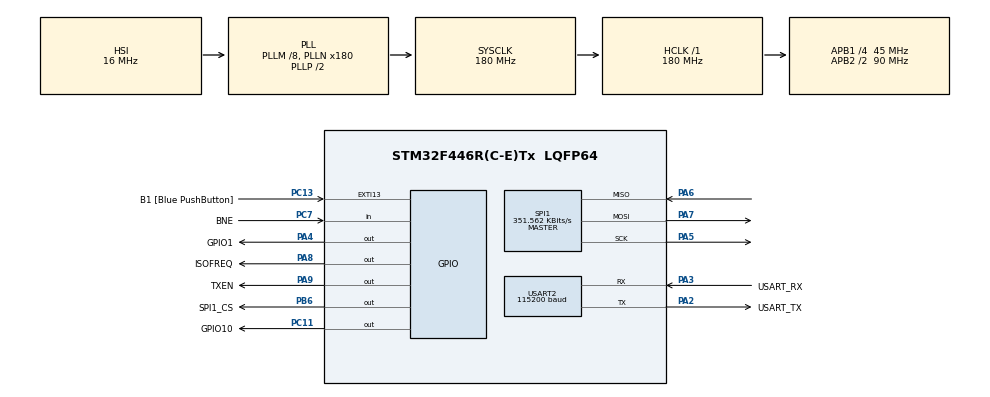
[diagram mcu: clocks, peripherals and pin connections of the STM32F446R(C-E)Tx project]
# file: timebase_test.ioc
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Mcu.Family=STM32F4
Mcu.Name=STM32F446R(C-E)Tx
Mcu.Package=LQFP64
NVIC.PriorityGroup=NVIC_PRIORITYGROUP_0
NVIC.TIM1_TRG_COM_TIM11_IRQn=true\:0\:0\:false\:false\:true\:true\:true\:true
NVIC.USART2_IRQn=true\:0\:0\:false\:false\:true\:true\:true\:true
PA13.Mode=Serial_Wire
PA13.Signal=SYS_JTMS-SWDIO
PA14.Mode=Serial_Wire
PA14.Signal=SYS_JTCK-SWCLK
PA2.GPIO_Label=USART_TX
PA2.Mode=Asynchronous
PA2.Signal=USART2_TX
PA3.GPIO_Label=USART_RX
PA3.Mode=Asynchronous
PA3.Signal=USART2_RX
PA4.GPIO_Label=GPIO1
PA4.Signal=GPIO_Output
PA5.Mode=Full_Duplex_Master
PA5.Signal=SPI1_SCK
PA6.Mode=Full_Duplex_Master
PA6.Signal=SPI1_MISO
PA7.Mode=Full_Duplex_Master
PA7.Signal=SPI1_MOSI
PA8.GPIO_Label=ISOFREQ
PA8.Signal=GPIO_Output
PA9.GPIO_Label=TXEN
PA9.Signal=GPIO_Output
PB6.GPIO_Label=SPI1_CS
PB6.PinState=GPIO_PIN_SET
PB6.Signal=GPIO_Output
PC11.GPIO_Label=GPIO10
PC11.GPIO_Speed=GPIO_SPEED_FREQ_VERY_HIGH
PC11.Signal=GPIO_Output
PC13.GPIO_Label=B1 [Blue PushButton]
PC13.GPIO_ModeDefaultEXTI=GPIO_MODE_IT_FALLING
PC13.Signal=GPXTI13
PC7.GPIO_Label=BNE
PC7.Signal=GPIO_Input
ProjectManager.HeapSize=0x200
ProjectManager.StackSize=0x400
ProjectManager.TargetToolchain=Makefile
RCC.AHBFreq_Value=180000000
RCC.APB1CLKDivider=RCC_HCLK_DIV4
RCC.APB1Freq_Value=45000000
RCC.APB1TimFreq_Value=90000000
RCC.APB2CLKDivider=RCC_HCLK_DIV2
RCC.APB2Freq_Value=90000000
RCC.APB2TimFreq_Value=180000000
RCC.CortexFreq_Value=180000000
RCC.FLatency-AdvancedSettings=FLASH_LATENCY_5
RCC.HCLKFreq_Value=180000000
RCC.HSE_VALUE=25000000
RCC.HSI_VALUE=16000000
RCC.LSE_VALUE=32768
RCC.PLLM=8
RCC.PLLN=180
RCC.SYSCLKFreq_VALUE=180000000
RCC.SYSCLKSource=RCC_SYSCLKSOURCE_PLLCLK
RCC.USBFreq_Value=180000000
RCC.VCOOutputFreq_Value=360000000
SPI1.BaudRatePrescaler=SPI_BAUDRATEPRESCALER_256
SPI1.CLKPhase=SPI_PHASE_2EDGE
SPI1.CRCCalculation=SPI_CRCCALCULATION_DISABLE
SPI1.CalculateBaudRate=351.562 KBits/s
SPI1.Direction=SPI_DIRECTION_2LINES
SPI1.FirstBit=SPI_FIRSTBIT_MSB
SPI1.Mode=SPI_MODE_MASTER
SPI1.VirtualType=VM_MASTER
TIM11.Period=7200
TIM11.Prescaler=0
USART2.BaudRate=115200
USART2.VirtualMode=VM_ASYNC
VP_CRC_VS_CRC.Mode=CRC_Activate
VP_TIM11_VS_ClockSourceINT.Mode=Enable_Timer
board=NUCLEO-F446RE

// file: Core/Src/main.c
/* USER CODE BEGIN Header */
/**
  ******************************************************************************
  * @file           : main.c
  * @brief          : Main program body
  ******************************************************************************
  * @attention
  *
  * Copyright (c) 2022 STMicroelectronics.
  * All rights reserved.
  *
  * This software is licensed under terms that can be found in the LICENSE file
  * in the root directory of this software component.
  * If no LICENSE file comes with this software, it is provided AS-IS.
  *
  ******************************************************************************
  */
/* USER CODE END Header */
#include "main.h"

#include "crc.h"
#include "gpio.h"
#include "spi.h"
#include "tim.h"
#include "usart.h"

/* USER CODE BEGIN Includes */
#include "L9963E.h"
#include "string.h"

#include <stdio.h>
/* USER CODE END Includes */

void SystemClock_Config(void);

/* USER CODE BEGIN 0 */

HAL_StatusTypeDef sample_callback(void) {
    HAL_GPIO_TogglePin(GPIO1_GPIO_Port, GPIO1_Pin);
    return HAL_OK;
}

HAL_StatusTypeDef dioca(char *buffer, uint32_t size) {
    static char buf[256];
    while (huart2.gState == HAL_UART_STATE_BUSY_TX)
        ;
    strncpy(buf, buffer, 256);
    return HAL_UART_Transmit_IT(&huart2, (uint8_t *)buf, size);
}

/* USER CODE END 0 */

int main(void) {

    /* MCU Configuration--------------------------------------------------------*/

    /* Reset of all peripherals, Initializes the Flash interface and the Systick. */
    HAL_Init();

    /* Configure the system clock */
    SystemClock_Config();

    /* Initialize all configured peripherals */
    MX_GPIO_Init();
    MX_USART2_UART_Init();
    MX_TIM11_Init();
    MX_SPI1_Init();
    MX_CRC_Init();
    /* USER CODE BEGIN 2 */

    L9963E_HandleTypeDef h9l;
    L9963E_init(&h9l,
                &hspi1,
                SPI1_CS_GPIO_Port,
                SPI1_CS_Pin,
                TXEN_GPIO_Port,
                TXEN_Pin,
                BNE_GPIO_Port,
                BNE_Pin,
                ISOFREQ_GPIO_Port,
                ISOFREQ_Pin,
                1);
    L9963E_addressing_procedure(&h9l, 0b11, 0, 0, 1);

    L9963E_RegisterUnionTypeDef bal3_reg        = {.generic = 0};
    L9963E_RegisterUnionTypeDef dev_gen_cfg_reg = {.generic = 0};

    L9963E_DRV_reg_read(&(h9l.drv_handle), 0x1, DEV_GEN_CFG, &dev_gen_cfg_reg);
    L9963E_DRV_reg_read(&(h9l.drv_handle), 0x1, Bal_3, &bal3_reg);

    /* USER CODE END 2 */

    /* Infinite loop */
    while (1) {

    }
}

void SystemClock_Config(void) {
    RCC_OscInitTypeDef RCC_OscInitStruct = {0};
    RCC_ClkInitTypeDef RCC_ClkInitStruct = {0};

    /** Configure the main internal regulator output voltage
  */
    __HAL_RCC_PWR_CLK_ENABLE();
    __HAL_PWR_VOLTAGESCALING_CONFIG(PWR_REGULATOR_VOLTAGE_SCALE1);

    /** Initializes the RCC Oscillators according to the specified parameters
  * in the RCC_OscInitTypeDef structure.
  */
    RCC_OscInitStruct.OscillatorType      = RCC_OSCILLATORTYPE_HSI;
    RCC_OscInitStruct.HSIState            = RCC_HSI_ON;
    RCC_OscInitStruct.HSICalibrationValue = RCC_HSICALIBRATION_DEFAULT;
    RCC_OscInitStruct.PLL.PLLState        = RCC_PLL_ON;
    RCC_OscInitStruct.PLL.PLLSource       = RCC_PLLSOURCE_HSI;
    RCC_OscInitStruct.PLL.PLLM            = 8;
    RCC_OscInitStruct.PLL.PLLN            = 180;
    RCC_OscInitStruct.PLL.PLLP            = RCC_PLLP_DIV2;
    RCC_OscInitStruct.PLL.PLLQ            = 2;
    RCC_OscInitStruct.PLL.PLLR            = 2;
    if (HAL_RCC_OscConfig(&RCC_OscInitStruct) != HAL_OK) {
        Error_Handler();
    }

    /** Activate the Over-Drive mode
  */
    if (HAL_PWREx_EnableOverDrive() != HAL_OK) {
        Error_Handler();
    }

    /** Initializes the CPU, AHB and APB buses clocks
  */
    RCC_ClkInitStruct.ClockType = RCC_CLOCKTYPE_HCLK | RCC_CLOCKTYPE_SYSCLK | RCC_CLOCKTYPE_PCLK1 | RCC_CLOCKTYPE_PCLK2;
    RCC_ClkInitStruct.SYSCLKSource   = RCC_SYSCLKSOURCE_PLLCLK;
    RCC_ClkInitStruct.AHBCLKDivider  = RCC_SYSCLK_DIV1;
    RCC_ClkInitStruct.APB1CLKDivider = RCC_HCLK_DIV4;
    RCC_ClkInitStruct.APB2CLKDivider = RCC_HCLK_DIV2;

    if (HAL_RCC_ClockConfig(&RCC_ClkInitStruct, FLASH_LATENCY_5) != HAL_OK) {
        Error_Handler();
    }
}

void Error_Handler(void) {
    __disable_irq();
    while (1) {
    }
}
